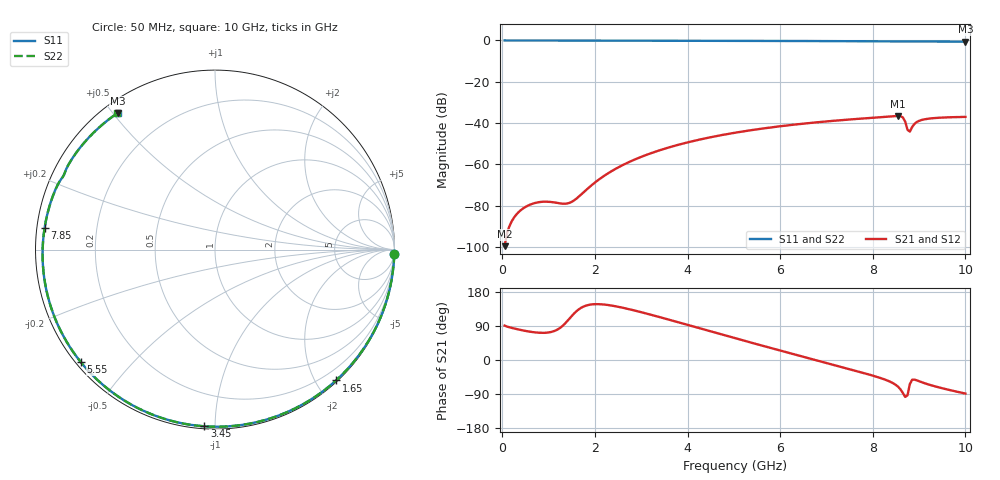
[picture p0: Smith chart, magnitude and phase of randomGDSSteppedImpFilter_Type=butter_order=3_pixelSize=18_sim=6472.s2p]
! freq	dB(S11)	phase(S11)	dB(S12)	phase(S12)
!  dB(S21)	phase(S21)	dB(S22)	phase(S22)
!S-par simulation data
#  GHz  S  DB  R 50
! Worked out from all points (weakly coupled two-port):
!   200 points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, 50 MHz to 10 GHz, reference 50 ohm
!   highest |S21| = -36.56 dB at 8.55 GHz (marker M1); lowest = -99.7 dB at 50 MHz (marker M2)
!   lowest |S11| = -0.6 dB at 10 GHz (marker M3), VSWR 29.56, Z = 2.14 + j25.7 ohm
!   |S11| at or under -10 dB: nowhere
!   |S22| runs from -0.6 to 0.0 dB; largest |S21 - S12| = 0
!   S11 on the Smith chart (normalised r, x): 50 MHz: 1, -80; 1.65 GHz: 0.02, -2.29; 3.45 GHz: 0.01, -0.94; 5.55 GHz: 0.01, -0.36; 7.85 GHz: 0.02, +0.06; 10 GHz: 0.04, +0.51
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0.05  -0.00 -1.4  -99.68 90.9  -99.68 90.9  -0.00 -1.4
0.55  -0.02 -16.0  -80.07 75.6  -80.07 75.6  -0.02 -16.0
0.9  -0.03 -26.1  -78.13 71.7  -78.13 71.7  -0.03 -26.1
1.4  -0.05 -40.3  -79.01 102.2  -79.01 102.2  -0.05 -40.3
1.65  -0.06 -47.2  -75.72 133.5  -75.72 133.5  -0.06 -47.2
1.75  -0.06 -49.9  -73.69 140.7  -73.69 140.7  -0.06 -49.9
2.45  -0.09 -68.5  -62.17 141.7  -62.17 141.7  -0.09 -68.5
3.4  -0.12 -92.2  -53.20 113.1  -53.20 113.1  -0.12 -92.2
3.45  -0.12 -93.4  -52.84 111.5  -52.84 111.5  -0.12 -93.4
5.05  -0.19 -129.5  -44.62 56.8  -44.62 56.8  -0.19 -129.4
5.55  -0.21 -140.0  -42.91 40.0  -42.91 40.0  -0.21 -140.0
6.7  -0.29 -163.7  -39.86 2.0  -39.86 2.0  -0.29 -163.7
7.85  -0.38 172.6  -37.71 -35.9  -37.71 -35.9  -0.38 172.7
8.35  -0.43 162.0  -36.84 -55.9  -36.84 -55.9  -0.43 162.1
8.55  -0.47 157.7  -36.56 -71.0  -36.56 -71.0  -0.46 157.7
8.65  -0.51 155.5  -37.33 -87.2  -37.33 -87.2  -0.51 155.5
8.7  -0.54 154.5  -39.30 -97.4  -39.30 -97.4  -0.54 154.6
8.75  -0.55 153.7  -43.27 -93.2  -43.27 -93.2  -0.55 153.7
8.8  -0.53 152.8  -44.18 -63.8  -44.18 -63.8  -0.53 152.8
8.9  -0.51 150.6  -40.43 -51.7  -40.43 -51.7  -0.51 150.6
9.05  -0.51 147.2  -38.57 -58.3  -38.57 -58.3  -0.50 147.3
10  -0.59 125.5  -37.05 -88.6  -37.05 -88.6  -0.59 125.6
